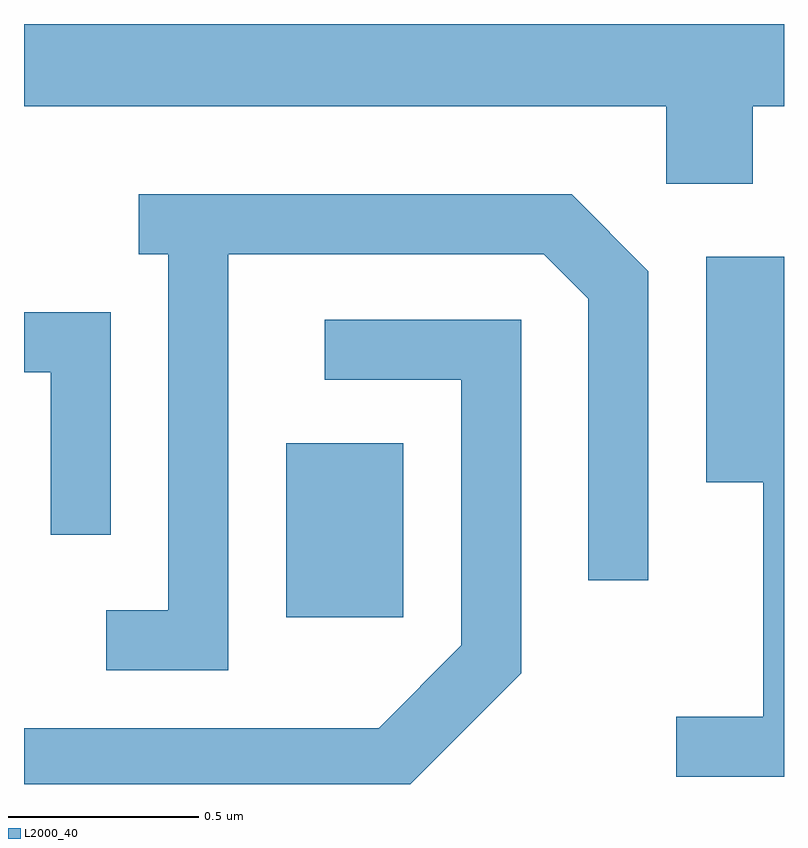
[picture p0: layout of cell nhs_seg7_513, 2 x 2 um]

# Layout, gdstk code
import gdstk
lib = gdstk.Library(unit=1e-6, precision=1e-09)
def R(c, l, rs):  # rectangles x0, y0, x1, y1
    for r in rs: c.add(gdstk.rectangle(r[:2], r[2:], *l))
def P(c, l, *ps):  # polygons
    for p in ps: c.add(gdstk.Polygon(p, *l))
L2000_40 = (2000, 40)

nhs_seg7_513 = lib.new_cell('nhs_seg7_513')
R(nhs_seg7_513, L2000_40, [(189.301,1770.691,189.609,1771.149)])
P(nhs_seg7_513, L2000_40, [(190.529,1772.036),(190.611,1772.036),(190.611,1772.252),(188.611,1772.252),(188.611,1772.036),(190.301,1772.036),(190.301,1771.831),(190.529,1771.831)],
  [(189.149,1771.646),(189.979,1771.646),(190.096,1771.529),(190.096,1770.788),(190.254,1770.788),(190.254,1771.602),(190.052,1771.804),(188.913,1771.804),(188.913,1771.646),(188.991,1771.646),(188.991,1770.709),(188.828,1770.709),(188.828,1770.551),(189.149,1770.551)],
  [(190.611,1771.639),(190.406,1771.639),(190.406,1771.046),(190.556,1771.046),(190.556,1770.429),(190.328,1770.429),(190.328,1770.271),(190.611,1770.271)],
  [(188.839,1771.494),(188.611,1771.494),(188.611,1771.336),(188.681,1771.336),(188.681,1770.908),(188.839,1770.908)],
  [(189.919,1770.544),(189.919,1771.474),(189.403,1771.474),(189.403,1771.316),(189.761,1771.316),(189.761,1770.617),(189.544,1770.399),(188.611,1770.399),(188.611,1770.252),(189.628,1770.252)])

lib.write_gds('nhs_seg7_513.gds')
